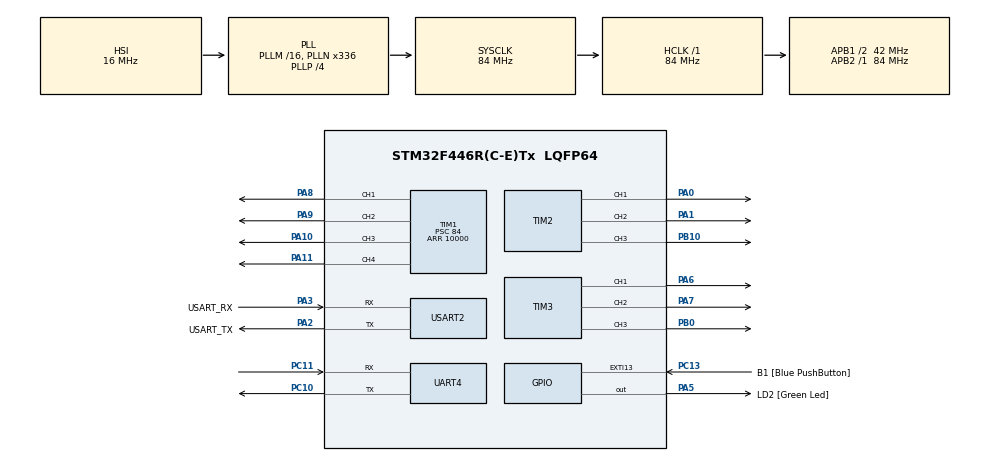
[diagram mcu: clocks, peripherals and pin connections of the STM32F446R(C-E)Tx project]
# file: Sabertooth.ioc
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Dma.Request0=UART4_RX
Dma.Request1=UART4_TX
Dma.UART4_RX.0.Direction=DMA_PERIPH_TO_MEMORY
Dma.UART4_RX.0.FIFOMode=DMA_FIFOMODE_DISABLE
Dma.UART4_RX.0.Instance=DMA1_Stream2
Dma.UART4_RX.0.MemDataAlignment=DMA_MDATAALIGN_BYTE
Dma.UART4_RX.0.MemInc=DMA_MINC_ENABLE
Dma.UART4_RX.0.Mode=DMA_CIRCULAR
Dma.UART4_RX.0.PeriphDataAlignment=DMA_PDATAALIGN_BYTE
Dma.UART4_RX.0.PeriphInc=DMA_PINC_DISABLE
Dma.UART4_RX.0.Priority=DMA_PRIORITY_LOW
Dma.UART4_TX.1.Direction=DMA_MEMORY_TO_PERIPH
Dma.UART4_TX.1.FIFOMode=DMA_FIFOMODE_DISABLE
Dma.UART4_TX.1.Instance=DMA1_Stream4
Dma.UART4_TX.1.MemDataAlignment=DMA_MDATAALIGN_BYTE
Dma.UART4_TX.1.MemInc=DMA_MINC_ENABLE
Dma.UART4_TX.1.Mode=DMA_NORMAL
Dma.UART4_TX.1.PeriphDataAlignment=DMA_PDATAALIGN_BYTE
Dma.UART4_TX.1.PeriphInc=DMA_PINC_DISABLE
Dma.UART4_TX.1.Priority=DMA_PRIORITY_LOW
Mcu.Family=STM32F4
Mcu.Name=STM32F446R(C-E)Tx
Mcu.Package=LQFP64
NVIC.DMA1_Stream2_IRQn=true\:0\:0\:false\:false\:true\:false\:true
NVIC.DMA1_Stream4_IRQn=true\:0\:0\:false\:false\:true\:false\:true
NVIC.PriorityGroup=NVIC_PRIORITYGROUP_0
NVIC.UART4_IRQn=true\:0\:0\:false\:false\:true\:true\:true
PA0-WKUP.Signal=S_TIM2_CH1_ETR
PA1.Signal=S_TIM2_CH2
PA10.Signal=S_TIM1_CH3
PA11.Signal=S_TIM1_CH4
PA13.GPIO_Label=TMS
PA13.Mode=Serial_Wire
PA13.Signal=SYS_JTMS-SWDIO
PA14.GPIO_Label=TCK
PA14.Mode=Serial_Wire
PA14.Signal=SYS_JTCK-SWCLK
PA2.GPIO_Label=USART_TX
PA2.Mode=Asynchronous
PA2.Signal=USART2_TX
PA3.GPIO_Label=USART_RX
PA3.Mode=Asynchronous
PA3.Signal=USART2_RX
PA5.GPIO_Label=LD2 [Green Led]
PA5.Signal=GPIO_Output
PA6.Signal=S_TIM3_CH1
PA7.Signal=S_TIM3_CH2
PA8.Signal=S_TIM1_CH1
PA9.Signal=S_TIM1_CH2
PB0.Signal=S_TIM3_CH3
PB10.Signal=S_TIM2_CH3
PB3.GPIO_Label=SWO
PB3.Signal=SYS_JTDO-SWO
PC10.Mode=Asynchronous
PC10.Signal=UART4_TX
PC11.Mode=Asynchronous
PC11.Signal=UART4_RX
PC13.GPIO_Label=B1 [Blue PushButton]
PC13.GPIO_ModeDefaultEXTI=GPIO_MODE_IT_FALLING
PC13.Signal=GPXTI13
PC14-OSC32_IN.Mode=LSE-External-Oscillator
PC14-OSC32_IN.Signal=RCC_OSC32_IN
PC15-OSC32_OUT.Mode=LSE-External-Oscillator
PC15-OSC32_OUT.Signal=RCC_OSC32_OUT
PH0-OSC_IN.Mode=HSE-External-Oscillator
PH0-OSC_IN.Signal=RCC_OSC_IN
PH1-OSC_OUT.Mode=HSE-External-Oscillator
PH1-OSC_OUT.Signal=RCC_OSC_OUT
ProjectManager.HeapSize=0x200
ProjectManager.StackSize=0x400
ProjectManager.TargetToolchain=STM32CubeIDE
RCC.48MHZClocksFreq_Value=84000000
RCC.AHBFreq_Value=84000000
RCC.APB1CLKDivider=RCC_HCLK_DIV2
RCC.APB1Freq_Value=42000000
RCC.APB1TimFreq_Value=84000000
RCC.APB2Freq_Value=84000000
RCC.APB2TimFreq_Value=84000000
RCC.CortexFreq_Value=84000000
RCC.FLatency-AdvancedSettings=FLASH_LATENCY_2
RCC.HCLKFreq_Value=84000000
RCC.HSE_VALUE=8000000
RCC.HSI_VALUE=16000000
RCC.PLLN=336
RCC.PLLP=RCC_PLLP_DIV4
RCC.SYSCLKFreq_VALUE=84000000
RCC.SYSCLKSource=RCC_SYSCLKSOURCE_PLLCLK
RCC.USBFreq_Value=168000000
RCC.VCOOutputFreq_Value=336000000
SH.S_TIM1_CH1.0=TIM1_CH1,Output Compare1 CH1
SH.S_TIM1_CH2.0=TIM1_CH2,PWM Generation2 CH2
SH.S_TIM1_CH3.0=TIM1_CH3,PWM Generation3 CH3
SH.S_TIM1_CH4.0=TIM1_CH4,PWM Generation4 CH4
SH.S_TIM2_CH1_ETR.0=TIM2_CH1,PWM Generation1 CH1
SH.S_TIM2_CH2.0=TIM2_CH2,PWM Generation2 CH2
SH.S_TIM2_CH3.0=TIM2_CH3,PWM Generation3 CH3
SH.S_TIM3_CH1.0=TIM3_CH1,PWM Generation1 CH1
SH.S_TIM3_CH2.0=TIM3_CH2,PWM Generation2 CH2
SH.S_TIM3_CH3.0=TIM3_CH3,PWM Generation3 CH3
TIM1.Channel-Output\ Compare1\ CH1=TIM_CHANNEL_1
TIM1.Channel-PWM\ Generation2\ CH2=TIM_CHANNEL_2
TIM1.Channel-PWM\ Generation3\ CH3=TIM_CHANNEL_3
TIM1.Channel-PWM\ Generation4\ CH4=TIM_CHANNEL_4
TIM1.Period=10000
TIM1.Prescaler=84
TIM2.Channel-PWM\ Generation1\ CH1=TIM_CHANNEL_1
TIM2.Channel-PWM\ Generation2\ CH2=TIM_CHANNEL_2
TIM2.Channel-PWM\ Generation3\ CH3=TIM_CHANNEL_3
TIM3.Channel-PWM\ Generation1\ CH1=TIM_CHANNEL_1
TIM3.Channel-PWM\ Generation2\ CH2=TIM_CHANNEL_2
TIM3.Channel-PWM\ Generation3\ CH3=TIM_CHANNEL_3
UART4.VirtualMode=Asynchronous
USART2.VirtualMode=VM_ASYNC
VP_TIM1_VS_ClockSourceINT.Mode=Internal
VP_TIM2_VS_ClockSourceINT.Mode=Internal
board=NUCLEO-F446RE

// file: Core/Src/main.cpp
/* USER CODE BEGIN Header */
/**
  ******************************************************************************
  * @file           : main.c
  * @brief          : Main program body
  ******************************************************************************
  * @attention
  *
  * <h2><center>&copy; Copyright (c) 2022 STMicroelectronics.
  * All rights reserved.</center></h2>
  *
  * This software component is licensed by ST under BSD 3-Clause license,
  * the "License"; You may not use this file except in compliance with the
  * License. You may obtain a copy of the License at:
  *                        opensource.org/licenses/BSD-3-Clause
  *
  ******************************************************************************
  */
/* USER CODE END Header */
#include "main.h"
#include "dma.h"
#include "tim.h"
#include "usart.h"
#include "gpio.h"
/* USER CODE BEGIN Includes */
#include "PWM.hpp"
#include "Serial.hpp"
#include "IOPin.hpp"
/* USER CODE END Includes */

/* USER CODE BEGIN PTD */
#define DATA 2
/* USER CODE END PTD */

/* USER CODE BEGIN PD */
#define ANGLE_LR 8
#define ANGLE_UD 7
/* USER CODE END PD */

/* USER CODE BEGIN PV */
enum BUTTON1
{
	 SQR = 1,
	 L1 = 2,
	 L2 = 4,
	 R1 = 8,
	 R2 = 16,
};

enum BUTTON2
{
	 UP = 1,
	 DOWN = 2,
	 RIGHT = 4,
	 LEFT = 8,
	 TRI = 16,
	 CRO = 32,
	 CIR = 64,
};

struct Button
{
	uint8_t up;
	uint8_t down;
	uint8_t right;
	uint8_t left;
	uint8_t tri;
	uint8_t cro;
	uint8_t cir;
	uint8_t sqr;
	uint8_t l1;
	uint8_t l2;
	uint8_t r1;
	uint8_t r2;
};
/* USER CODE END PV */

void SystemClock_Config(void);

int main(void)
{

  /* MCU Configuration--------------------------------------------------------*/

  /* Reset of all peripherals, Initializes the Flash interface and the Systick. */

	HAL_Init();

  /* Configure the system clock */
  SystemClock_Config();

  /* Initialize all configured peripherals */
  MX_GPIO_Init();
  MX_USART2_UART_Init();
  MX_TIM1_Init();
  MX_TIM2_Init();
  MX_DMA_Init();
  MX_UART4_Init();
  MX_TIM3_Init();
  /* USER CODE BEGIN 2 */
//  Servo motor1(&htim1, TIM_CHANNEL_1);

  PWM pwm[9] = {
		  {&htim1,TIM_CHANNEL_4,10000,84,timMode::APB2},
		  {&htim1,TIM_CHANNEL_3,10000,84,timMode::APB2},
		  {&htim1,TIM_CHANNEL_2,10000,84,timMode::APB2},
		  {&htim2,TIM_CHANNEL_2,10000,84,timMode::APB2},
		  {&htim2,TIM_CHANNEL_1,10000,84,timMode::APB2},
		  {&htim2,TIM_CHANNEL_3,10000,84,timMode::APB2},
		  {&htim3,TIM_CHANNEL_1,10000,84,timMode::APB2},
		  {&htim3,TIM_CHANNEL_2,10000,84,timMode::APB2},
		  {&htim3,TIM_CHANNEL_3,10000,84,timMode::APB2},
  };

  servo motor[9] = {
		  pwm[0],
		  pwm[1],
		  pwm[2],
		  pwm[3],
		  pwm[4],
		  pwm[5],
		  pwm[6],
		  pwm[7],
		  pwm[8],
  };

  Serial stm32(huart4, 115200);
  Serial serial(huart2, 115200);

  uint8_t buf[DATA]={0};
  Button button;
  uint8_t move = 0;
  uint16_t injec = 150;
  uint8_t angle_LR = 50;
  uint8_t angle_UD = 50;

  for (int i = 0; i < 9; i++)
  {
	  motor[i].setTime(1500);
  }
  /* USER CODE END 2 */

  /* Infinite loop */
  /* USER CODE BEGIN WHILE */

  while (1)
  {
	  if (stm32.available() > DATA)
	  {
		  for (int i = 0; i < DATA; i++)
		  {
			  buf[i]=stm32.read();
		  }

		  button.up 	= (buf[1] & UP) 	>> 0;
		  button.down 	= (buf[1] & DOWN) 	>> 1;
		  button.right 	= (buf[1] & RIGHT)	>> 2;
		  button.left 	= (buf[1] & LEFT) 	>> 3;
		  button.tri 	= (buf[1] & TRI) 	>> 4;
		  button.cro	= (buf[1] & CRO) 	>> 5;
		  button.cir	= (buf[1] & CIR) 	>> 6;
		  button.sqr	= (buf[0] & SQR) 	>> 0;
		  button.l1		= (buf[0] & L1) 	>> 1;
		  button.l2		= (buf[0] & L2) 	>> 2;
		  button.r1		= (buf[0] & R1) 	>> 3;
		  button.r2		= (buf[0] & R2) 	>> 4;

		  if(button.cir && !move)
		  {
			  move = 1;

			  for (int i = 0; i < 1; i++)
			  {
				  for(int pulse = 1500 + injec; pulse <= 1900; pulse += 3)
				  {
					  HAL_Delay(6);
					  motor[i].setTime(pulse);
				  }
			  }
		  }

		  else if (button.cro && move)
		  {
			  move = 0;
			  for(int i = 0; i < 6; i++)
			  {
				  for(int pulse = 1900; pulse >= 1500 + injec; pulse -= 3)
				  {
						  HAL_Delay(6);
						  motor[i].setTime(pulse);
				  }
				  motor[i].setTime(1500);
			  }
		  }

		  if(button.left)
		  {
//			  for(int pulse = 1500 + angle_LR; pulse <= 1700; pulse += 3)
//			  {
//				  motor[ANGLE_LR].setTime(pulse);
//			  }
			  motor[ANGLE_LR].setTime(1600);
		  }

		  else if(button.right)
		  {
//			  for(int pulse = 1900; pulse >= 1500 + injec; pulse -= 3)
//			  {
//					  HAL_Delay(6);
//					  motor[ANGLE_LR].setTime(pulse);
//			  }
			  motor[ANGLE_LR].setTime(1300);
		  }

		  else
			  motor[ANGLE_LR].setTime(1500);

		  if(button.up)
		  {
//			  for(int pulse = 1500 + angle_LR; pulse <= 1700; pulse += 3)
//			  {
//				  motor[ANGLE_LR].setTime(pulse);
//			  }
			  motor[ANGLE_UD].setTime(1600);
		  }

		  else if(button.down)
		  {
//			  for(int pulse = 1900; pulse >= 1500 + injec; pulse -= 3)
//			  {
//					  HAL_Delay(6);
//					  motor[ANGLE_LR].setTime(pulse);
//			  }
			  motor[ANGLE_UD].setTime(1300);
		  }
		  else

			  motor[ANGLE_UD].setTime(1500);
	  }
//		  for (uint16_t power = 1500; power > 1000; power-=250)
//		  {
//			  for (int j = 0; j < 6; j++){
//			  motor[j].setTime(power);
//			  HAL_Delay(2000);
//			  }
//		  }
//
//
//		  for (uint16_t power = 1000; power < 1500 ; power+=250)
//		  {
//			  for (int j = 0; j < 6; j++){
//			  motor[j].setTime(power);
//			  HAL_Delay(2000);
//			  }
//		  }
//
//
//	  for (uint16_t power = 1500; power < 2000; power+=250)
//	  {
//		  for (int j = 0; j < 6; j++){
//		  motor[j].setTime(power);
//		  HAL_Delay(2000);
//		  }
//	  }
//
//	  for (uint16_t power = 2000; power > 1500; power-=250)
//	  {
//		  for (int j = 0; j < 6; j++){
//		  motor[j].setTime(power);
//		  HAL_Delay(2000);
//		  }
//	  }
    /* USER CODE END WHILE */

  }
}

void SystemClock_Config(void)
{
  RCC_OscInitTypeDef RCC_OscInitStruct = {0};
  RCC_ClkInitTypeDef RCC_ClkInitStruct = {0};

  /** Configure the main internal regulator output voltage
  */
  __HAL_RCC_PWR_CLK_ENABLE();
  __HAL_PWR_VOLTAGESCALING_CONFIG(PWR_REGULATOR_VOLTAGE_SCALE3);
  /** Initializes the RCC Oscillators according to the specified parameters
  * in the RCC_OscInitTypeDef structure.
  */
  RCC_OscInitStruct.OscillatorType = RCC_OSCILLATORTYPE_HSI;
  RCC_OscInitStruct.HSIState = RCC_HSI_ON;
  RCC_OscInitStruct.HSICalibrationValue = RCC_HSICALIBRATION_DEFAULT;
  RCC_OscInitStruct.PLL.PLLState = RCC_PLL_ON;
  RCC_OscInitStruct.PLL.PLLSource = RCC_PLLSOURCE_HSI;
  RCC_OscInitStruct.PLL.PLLM = 16;
  RCC_OscInitStruct.PLL.PLLN = 336;
  RCC_OscInitStruct.PLL.PLLP = RCC_PLLP_DIV4;
  RCC_OscInitStruct.PLL.PLLQ = 2;
  RCC_OscInitStruct.PLL.PLLR = 2;
  if (HAL_RCC_OscConfig(&RCC_OscInitStruct) != HAL_OK)
  {
    Error_Handler();
  }
  /** Initializes the CPU, AHB and APB buses clocks
  */
  RCC_ClkInitStruct.ClockType = RCC_CLOCKTYPE_HCLK|RCC_CLOCKTYPE_SYSCLK
                              |RCC_CLOCKTYPE_PCLK1|RCC_CLOCKTYPE_PCLK2;
  RCC_ClkInitStruct.SYSCLKSource = RCC_SYSCLKSOURCE_PLLCLK;
  RCC_ClkInitStruct.AHBCLKDivider = RCC_SYSCLK_DIV1;
  RCC_ClkInitStruct.APB1CLKDivider = RCC_HCLK_DIV2;
  RCC_ClkInitStruct.APB2CLKDivider = RCC_HCLK_DIV1;

  if (HAL_RCC_ClockConfig(&RCC_ClkInitStruct, FLASH_LATENCY_2) != HAL_OK)
  {
    Error_Handler();
  }
}

void Error_Handler(void)
{
  __disable_irq();
  while (1)
  {
  }
}

/************************ (C) COPYRIGHT STMicroelectronics *****END OF FILE****/
